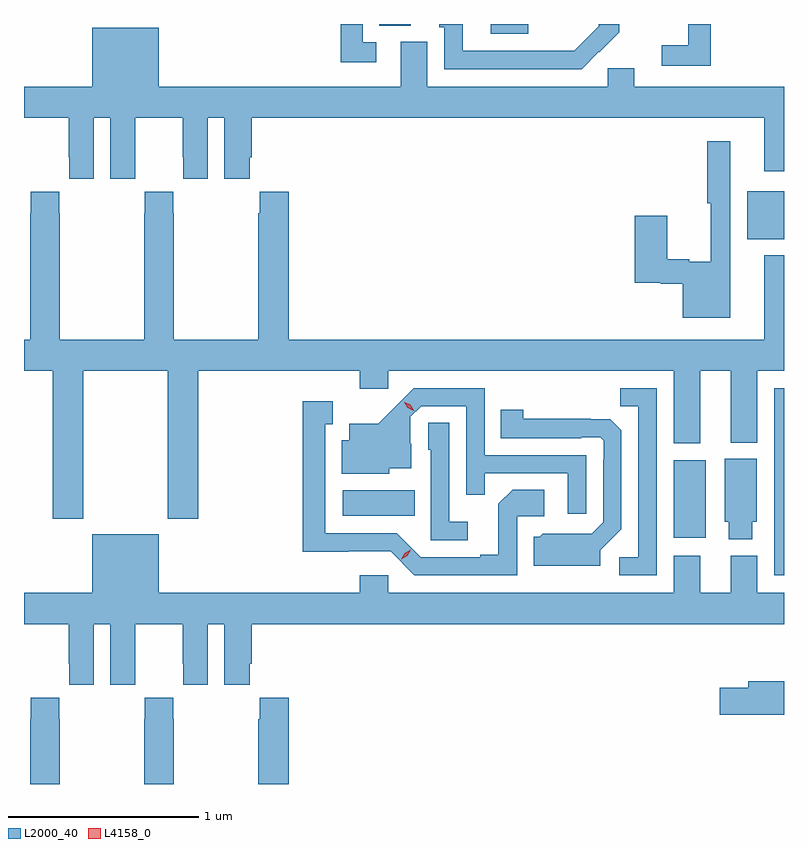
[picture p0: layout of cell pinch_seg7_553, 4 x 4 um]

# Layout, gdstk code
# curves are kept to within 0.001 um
import gdstk
lib = gdstk.Library(unit=1e-6, precision=1e-09)
def R(c, l, rs):  # rectangles x0, y0, x1, y1
    for r in rs: c.add(gdstk.rectangle(r[:2], r[2:], *l))
def P(c, l, *ps):  # polygons
    for p in ps: c.add(gdstk.Polygon(p, *l))
L2000_40 = (2000, 40)
L4158_0 = (4158, 0)

pinch_seg7_553 = lib.new_cell('pinch_seg7_553')
R(pinch_seg7_553, L2000_40, [(140.757,1043.496,140.809,1044.48), (140.228,1043.694,140.398,1044.103), (138.486,1043.81,138.866,1043.944), (140.615,1045.265,140.809,1045.519), (139.266,1046.346,139.464,1046.398), (138.68,1046.389,138.844,1046.398)])
P(pinch_seg7_553, L2000_40, [(140.423,1046.398),(140.306,1046.398),(140.306,1046.287),(140.166,1046.287),(140.166,1046.178),(140.423,1046.178)],
  [(139.835,1046.251),(139.836,1046.25),(139.941,1046.355),(139.941,1046.398),(139.833,1046.398),(139.833,1046.385),(139.705,1046.257),(139.601,1046.256),(139.117,1046.256),(139.117,1046.398),(138.995,1046.398),(138.995,1046.382),(139.02,1046.382),(139.02,1046.16),(139.744,1046.16)],
  [(138.664,1046.301),(138.591,1046.301),(138.591,1046.398),(138.475,1046.398),(138.475,1046.196),(138.664,1046.196)],
  [(137.176,1045.904),(137.264,1045.904),(137.264,1045.584),(137.394,1045.584),(137.394,1045.696),(137.395,1045.696),(137.395,1045.904),(137.645,1045.904),(137.645,1045.696),(137.646,1045.696),(137.646,1045.584),(137.776,1045.584),(137.776,1045.904),(137.864,1045.904),(137.864,1045.584),(137.998,1045.584),(137.998,1045.696),(138.008,1045.696),(138.008,1045.904),(140.705,1045.904),(140.705,1045.623),(140.809,1045.623),(140.809,1046.068),(140.02,1046.068),(140.02,1046.166),(139.881,1046.166),(139.881,1046.068),(138.931,1046.068),(138.931,1046.304),(138.791,1046.304),(138.791,1046.068),(137.518,1046.068),(137.518,1046.377),(137.168,1046.377),(137.168,1046.068),(136.809,1046.068),(136.809,1045.904),(137.045,1045.904),(137.045,1045.696),(137.046,1045.696),(137.046,1045.584),(137.176,1045.584)],
  [(140.527,1045.78),(140.406,1045.78),(140.406,1045.455),(140.423,1045.455),(140.423,1045.147),(140.309,1045.147),(140.309,1045.16),(140.194,1045.16),(140.194,1045.39),(140.024,1045.39),(140.024,1045.037),(140.16,1045.037),(140.16,1045.03),(140.276,1045.03),(140.276,1044.851),(140.527,1044.851)],
  [(137.121,1044.572),(137.566,1044.572),(137.566,1043.793),(137.726,1043.793),(137.726,1044.572),(138.575,1044.572),(138.575,1044.477),(138.726,1044.477),(138.726,1044.572),(140.228,1044.572),(140.228,1044.192),(140.368,1044.192),(140.368,1044.572),(140.528,1044.572),(140.528,1044.194),(140.668,1044.194),(140.668,1044.572),(140.809,1044.572),(140.809,1045.18),(140.705,1045.18),(140.705,1044.736),(138.203,1044.736),(138.203,1045.516),(138.049,1045.516),(138.049,1045.403),(138.043,1045.403),(138.043,1044.736),(137.598,1044.736),(137.598,1045.403),(137.595,1045.403),(137.595,1045.516),(137.445,1045.516),(137.445,1045.403),(137.443,1045.403),(137.443,1044.736),(136.998,1044.736),(136.998,1045.403),(136.995,1045.403),(136.995,1045.516),(136.845,1045.516),(136.845,1045.403),(136.843,1045.403),(136.843,1044.736),(136.809,1044.736),(136.809,1044.572),(136.961,1044.572),(136.961,1043.793),(137.121,1043.793)],
  [(139.767,1044.129),(139.233,1044.129),(139.233,1044.48),(138.86,1044.48),(138.673,1044.295),(138.521,1044.295),(138.521,1044.208),(138.482,1044.208),(138.482,1044.032),(138.732,1044.032),(138.732,1044.059),(138.847,1044.059),(138.847,1044.188),(138.843,1044.188),(138.843,1044.33),(138.9,1044.387),(139.137,1044.387),(139.137,1043.92),(139.235,1043.92),(139.235,1044.033),(139.671,1044.033),(139.671,1043.82),(139.767,1043.82)],
  [(140.139,1044.48),(139.948,1044.48),(139.948,1044.385),(140.043,1044.385),(140.043,1043.592),(139.941,1043.592),(139.941,1043.496),(140.139,1043.496)],
  [(139.404,1043.808),(139.546,1043.808),(139.546,1043.948),(139.381,1043.948),(139.305,1043.872),(139.305,1043.605),(139.211,1043.605),(139.211,1043.592),(138.897,1043.592),(138.771,1043.718),(138.394,1043.718),(138.394,1044.291),(138.433,1044.291),(138.433,1044.412),(138.276,1044.412),(138.276,1043.621),(138.738,1043.622),(138.864,1043.496),(139.404,1043.496)],
  [(139.843,1043.628),(139.953,1043.738),(139.953,1044.26),(139.894,1044.319),(139.437,1044.32),(139.437,1044.367),(139.318,1044.367),(139.318,1044.219),(139.742,1044.219),(139.742,1044.222),(139.842,1044.222),(139.86,1044.204),(139.86,1044.104),(139.857,1044.104),(139.857,1043.775),(139.797,1043.715),(139.54,1043.716),(139.524,1043.7),(139.493,1043.7),(139.493,1043.546),(139.843,1043.546)],
  [(139.144,1043.779),(139.047,1043.779),(139.047,1044.299),(138.936,1044.299),(138.936,1044.156),(138.951,1044.156),(138.951,1043.682),(139.144,1043.682)],
  [(140.641,1043.778),(140.665,1043.778),(140.665,1044.109),(140.498,1044.109),(140.498,1043.778),(140.519,1043.778),(140.519,1043.687),(140.641,1043.687)],
  [(137.176,1043.24),(137.264,1043.24),(137.264,1042.92),(137.394,1042.92),(137.394,1043.032),(137.395,1043.032),(137.395,1043.24),(137.645,1043.24),(137.645,1043.032),(137.646,1043.032),(137.646,1042.92),(137.776,1042.92),(137.776,1043.24),(137.864,1043.24),(137.864,1042.92),(137.998,1042.92),(137.998,1043.032),(138.008,1043.032),(138.008,1043.24),(140.809,1043.24),(140.809,1043.404),(140.668,1043.404),(140.668,1043.599),(140.528,1043.599),(140.528,1043.404),(140.368,1043.404),(140.368,1043.599),(140.228,1043.599),(140.228,1043.404),(138.726,1043.404),(138.726,1043.497),(138.575,1043.497),(138.575,1043.404),(137.518,1043.404),(137.518,1043.713),(137.168,1043.713),(137.168,1043.404),(136.809,1043.404),(136.809,1043.24),(137.045,1043.24),(137.045,1043.032),(137.046,1043.032),(137.046,1042.92),(137.176,1042.92)],
  [(140.809,1042.939),(140.621,1042.939),(140.621,1042.905),(140.472,1042.905),(140.472,1042.763),(140.809,1042.763)],
  [(136.998,1042.739),(136.995,1042.739),(136.995,1042.852),(136.845,1042.852),(136.845,1042.739),(136.843,1042.739),(136.843,1042.398),(136.998,1042.398)],
  [(137.598,1042.739),(137.595,1042.739),(137.595,1042.852),(137.445,1042.852),(137.445,1042.739),(137.443,1042.739),(137.443,1042.398),(137.598,1042.398)],
  [(138.203,1042.852),(138.049,1042.852),(138.049,1042.739),(138.043,1042.739),(138.043,1042.398),(138.203,1042.398)])
P(pinch_seg7_553, L4158_0, [(138.859,1044.363),(138.829,1044.378),(138.811,1044.408),(138.811,1044.408),(138.812,1044.408),(138.842,1044.393),(138.86,1044.364),(138.86,1044.363)],
  [(138.795,1043.58),(138.795,1043.58),(138.812,1043.613),(138.844,1043.631),(138.844,1043.631),(138.844,1043.631),(138.827,1043.599),(138.795,1043.58)])

lib.write_gds('pinch_seg7_553.gds')
